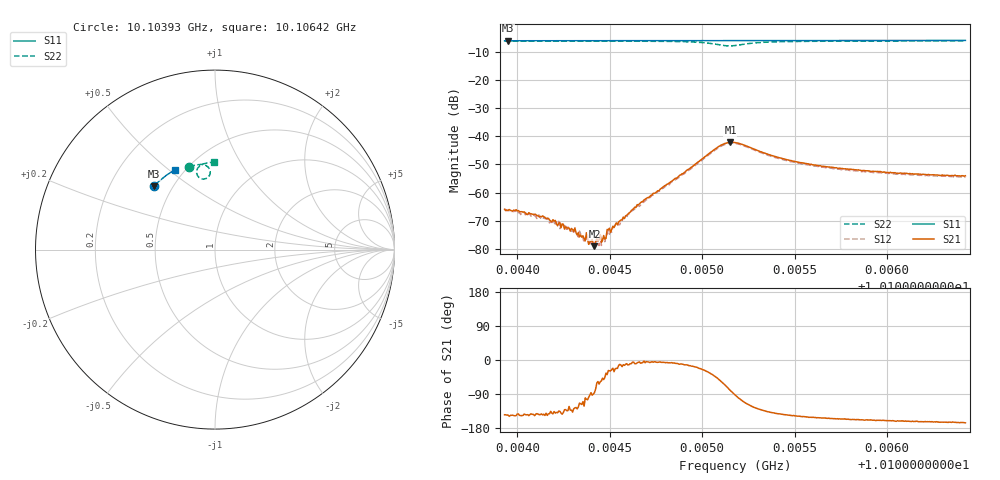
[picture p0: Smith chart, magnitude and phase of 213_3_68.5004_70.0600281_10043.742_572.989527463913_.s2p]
#  HZ  S  RI  R  50.00
! Rohde & Schwarz Vector Network Analyzer
! Rohde-Schwarz,ZNB20-2Port,1311601062101988,3.16
! Created: UTC 3/20/2024, 5:13:15 PM
! freq[Hz]  re:S11  im:S11  re:S21  im:S21  re:S12  im:S12  re:S22  im:S22
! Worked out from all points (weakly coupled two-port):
!   401 points, 10.10393 GHz to 10.10642 GHz, reference 50 ohm
!   highest |S21| = -42.18 dB at 10.10515 GHz (marker M1); lowest = -79.0 dB at 10.10442 GHz (marker M2)
!   lowest |S11| = -6.2 dB at 10.10395 GHz (marker M3), VSWR 2.93, Z = 19.8 + j18.3 ohm
!   |S11| at or under -10 dB: nowhere
!   |S22| runs from -8.0 to -6.2 dB; largest |S21 - S12| = 0.00084
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1.0103931e10  -0.3418 0.3518  -0.000412 -0.000294  -0.000384 -0.000326  -0.1424 0.4613
1.010395e10  -0.3409 0.3526  -0.000394 -0.000273  -0.000357 -0.000326  -0.1412 0.4618
1.0104149e10  -0.3325 0.3615  -0.000302 -0.0002  -0.000249 -0.000239  -0.1273 0.466
1.0104305e10  -0.3259 0.3681  -0.000126 -0.000159  -0.000103 -0.000168  -0.1161 0.4691
1.0104349e10  -0.3239 0.37  -7.41e-05 -0.000143  -6.59e-05 -0.00017  -0.1127 0.4699
1.0104367e10  -0.3232 0.3707  -2.46e-05 -0.000137  -3.45e-05 -0.00015  -0.1115 0.4704
1.0104399e10  -0.3216 0.372  8.6e-06 -0.000135  1.42e-05 -0.000122  -0.1088 0.4709
1.0104417e10  -0.3208 0.3729  7.74e-06 -0.000111  2.7e-05 -0.000126  -0.1074 0.4712
1.0104436e10  -0.3201 0.3737  7.54e-05 -0.000115  6.51e-05 -0.000112  -0.1059 0.4716
1.0104467e10  -0.3185 0.3749  0.000107 -0.000135  0.000125 -9.73e-05  -0.1033 0.472
1.0104498e10  -0.3174 0.3761  0.000204 -0.00011  0.000162 -8.31e-05  -0.1006 0.4725
1.010453e10  -0.3158 0.3776  0.000245 -0.000104  0.000248 -7.22e-05  -0.0979 0.4729
1.0104554e10  -0.3148 0.3784  0.000307 -6.27e-05  0.000265 -4.61e-05  -0.0957 0.4734
1.010466e10  -0.3099 0.3827  0.000623 -5.46e-05  0.000566 -6.24e-06  -0.0856 0.4744
1.0104766e10  -0.3051 0.3871  0.00106 -0.000107  0.00105 -1.32e-05  -0.0737 0.4745
1.0105078e10  -0.2901 0.3987  0.00425 -0.00446  0.00444 -0.00387  -0.0275 0.4229
1.0105153e10  -0.2867 0.4013  0.00128 -0.00767  0.00197 -0.00722  -0.0627 0.3929
1.0105178e10  -0.2857 0.4022  -0.000281 -0.00768  0.000454 -0.00742  -0.0793 0.396
1.010539e10  -0.2758 0.4102  -0.00334 -0.00283  -0.00296 -0.003  -0.0909 0.4601
1.0105595e10  -0.2657 0.4176  -0.00274 -0.00149  -0.0025 -0.00167  -0.068 0.4755
1.0106013e10  -0.2443 0.4316  -0.00211 -0.000767  -0.00199 -0.000929  -0.0331 0.4848
1.0106424e10  -0.223 0.4441  -0.00192 -0.000486  -0.00174 -0.000649  -0.00353 0.4879
